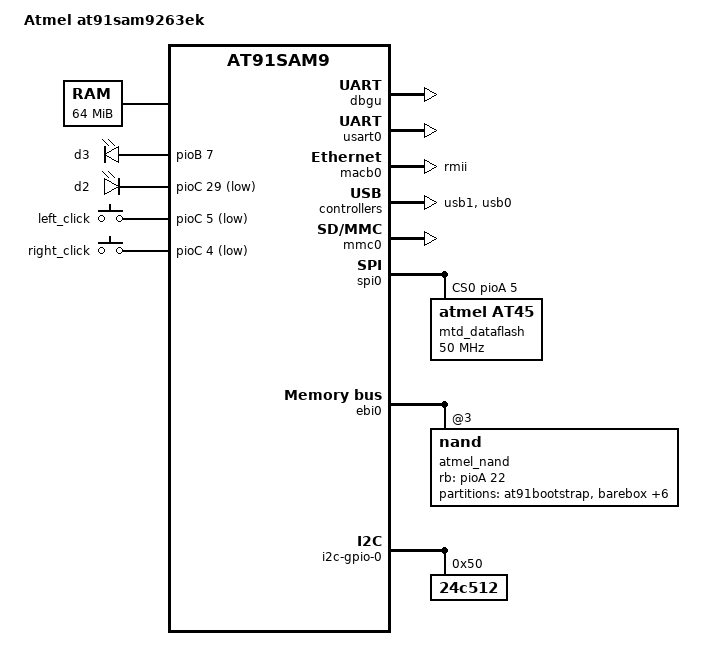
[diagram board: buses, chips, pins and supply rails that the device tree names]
/*
 * at91sam9263ek.dts - Device Tree file for Atmel at91sam9263 reference board
 *
 *  Copyright (C) 2012 Jean-Christophe PLAGNIOL-VILLARD <plagnioj@jcrosoft.com>
 *
 * Licensed under GPLv2 only
 */
/dts-v1/;
#include "at91sam9263.dtsi"

/ {
	model = "Atmel at91sam9263ek";
	compatible = "atmel,at91sam9263ek", "atmel,at91sam9263", "atmel,at91sam9";

	chosen {
		bootargs = "mem=64M root=/dev/mtdblock5 rw rootfstype=ubifs";
		stdout-path = "serial0:115200n8";
	};

	memory {
		reg = <0x20000000 0x4000000>;
	};

	clocks {
		slow_xtal {
			clock-frequency = <32768>;
		};

		main_xtal {
			clock-frequency = <16367660>;
		};
	};

	ahb {
		apb {
			dbgu: serial@ffffee00 {
				status = "okay";
			};

			usart0: serial@fff8c000 {
				pinctrl-0 = <
					&pinctrl_usart0
					&pinctrl_usart0_rts
					&pinctrl_usart0_cts>;
				status = "okay";
			};

			macb0: ethernet@fffbc000 {
				phy-mode = "rmii";
				status = "okay";
			};

			usb1: gadget@fff78000 {
				atmel,vbus-gpio = <&pioA 25 GPIO_ACTIVE_HIGH>;
				status = "okay";
			};

			mmc0: mmc@fff80000 {
				pinctrl-0 = <
					&pinctrl_board_mmc0
					&pinctrl_mmc0_clk
					&pinctrl_mmc0_slot0_cmd_dat0
					&pinctrl_mmc0_slot0_dat1_3>;
				status = "okay";
				slot@0 {
					reg = <0>;
					bus-width = <4>;
					cd-gpios = <&pioE 18 GPIO_ACTIVE_HIGH>;
					wp-gpios = <&pioE 19 GPIO_ACTIVE_HIGH>;
				};
			};

			pinctrl@fffff200 {
				mmc0 {
					pinctrl_board_mmc0: mmc0-board {
						atmel,pins =
							<AT91_PIOE 18 AT91_PERIPH_GPIO AT91_PINCTRL_PULL_UP_DEGLITCH 	/* PE18 gpio CD pin pull up and deglitch */
							 AT91_PIOE 19 AT91_PERIPH_GPIO AT91_PINCTRL_PULL_UP>;	/* PE19 gpio WP pin pull up */
					};
				};
			};

			spi0: spi@fffa4000 {
				status = "okay";
				cs-gpios = <&pioA 5 0>, <0>, <0>, <0>;
				mtd_dataflash@0 {
					compatible = "atmel,at45", "atmel,dataflash";
					spi-max-frequency = <50000000>;
					reg = <0>;
				};
			};

			watchdog@fffffd40 {
				status = "okay";
			};
		};

		fb0: fb@0x00700000 {
			display = <&display0>;
			status = "okay";

			display0: display {
				bits-per-pixel = <16>;
				atmel,lcdcon-backlight;
				atmel,dmacon = <0x1>;
				atmel,lcdcon2 = <0x80008002>;
				atmel,guard-time = <1>;

				display-timings {
					native-mode = <&timing0>;
					timing0: timing0 {
						clock-frequency = <4965000>;
						hactive = <240>;
						vactive = <320>;
						hback-porch = <1>;
						hfront-porch = <33>;
						vback-porch = <1>;
						vfront-porch = <0>;
						hsync-len = <5>;
						vsync-len = <1>;
						hsync-active = <1>;
						vsync-active = <1>;
					};
				};
			};
		};

		ebi0: ebi@10000000 {
			status = "okay";

			nand_controller: nand-controller {
				status = "okay";
				pinctrl-0 = <&pinctrl_nand_cs &pinctrl_nand_rb>;
				pinctrl-names = "default";

				nand@3 {
					reg = <0x3 0x0 0x800000>;
					rb-gpios = <&pioA 22 GPIO_ACTIVE_HIGH>;
					cs-gpios = <&pioA 15 GPIO_ACTIVE_HIGH>;
					nand-bus-width = <8>;
					nand-ecc-mode = "soft";
					nand-on-flash-bbt;
					label = "atmel_nand";

					partitions {
						compatible = "fixed-partitions";
						#address-cells = <1>;
						#size-cells = <1>;

						at91bootstrap@0 {
							label = "at91bootstrap";
							reg = <0x0 0x20000>;
						};

						barebox@20000 {
							label = "barebox";
							reg = <0x20000 0x40000>;
						};

						bareboxenv@60000 {
							label = "bareboxenv";
							reg = <0x60000 0x20000>;
						};

						bareboxenv2@80000 {
							label = "bareboxenv2";
							reg = <0x80000 0x20000>;
						};

						oftree@80000 {
							label = "oftree";
							reg = <0xa0000 0x20000>;
						};

						kernel@a0000 {
							label = "kernel";
							reg = <0xc0000 0x400000>;
						};

						rootfs@4a0000 {
							label = "rootfs";
							reg = <0x4c0000 0x7800000>;
						};

						data@7ca0000 {
							label = "data";
							reg = <0x7cc0000 0x8340000>;
						};
					};
				};
			};
		};

		usb0: ohci@a00000 {
			num-ports = <2>;
			status = "okay";
			atmel,vbus-gpio = <&pioA 24 GPIO_ACTIVE_HIGH
					   &pioA 21 GPIO_ACTIVE_HIGH
					  >;
		};
	};

	leds {
		compatible = "gpio-leds";

		d3 {
			label = "d3";
			gpios = <&pioB 7 GPIO_ACTIVE_HIGH>;
			linux,default-trigger = "heartbeat";
		};

		d2 {
			label = "d2";
			gpios = <&pioC 29 GPIO_ACTIVE_LOW>;
			linux,default-trigger = "nand-disk";
		};
	};

	gpio_keys {
		compatible = "gpio-keys";

		left_click {
			label = "left_click";
			gpios = <&pioC 5 GPIO_ACTIVE_LOW>;
			linux,code = <272>;
			wakeup-source;
		};

		right_click {
			label = "right_click";
			gpios = <&pioC 4 GPIO_ACTIVE_LOW>;
			linux,code = <273>;
			wakeup-source;
		};
	};

	i2c-gpio-0 {
		status = "okay";

		24c512@50 {
			compatible = "24c512";
			reg = <0x50>;
			pagesize = <128>;
		};
	};
};
